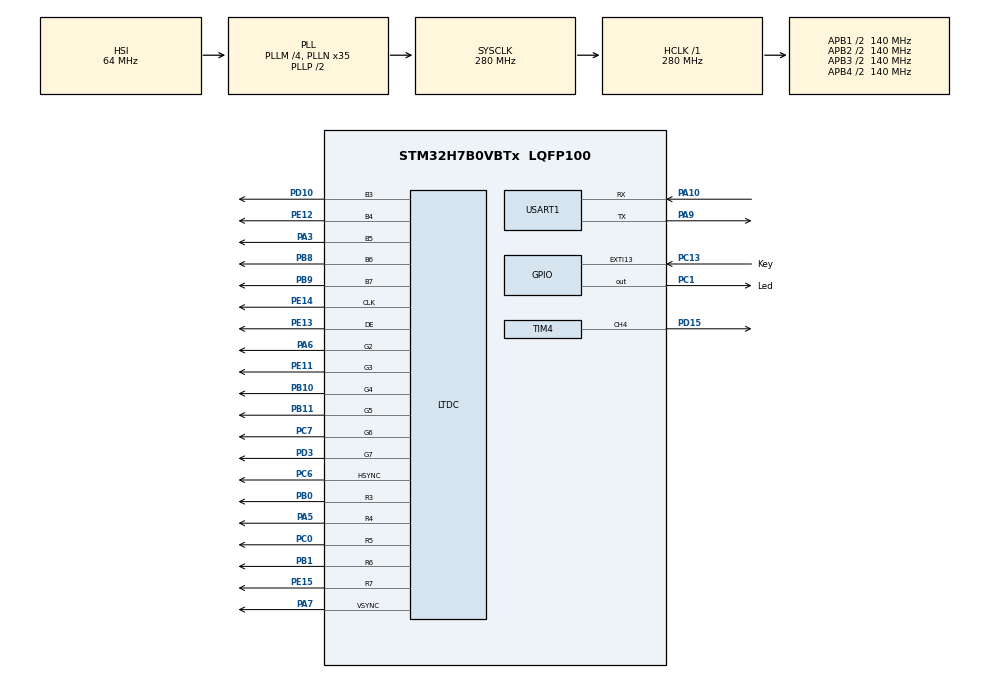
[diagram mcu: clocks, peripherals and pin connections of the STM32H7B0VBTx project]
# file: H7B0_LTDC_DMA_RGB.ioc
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CORTEX_M7.AccessPermission-Cortex_Memory_Protection_Unit_Region0_Settings=MPU_REGION_FULL_ACCESS
CORTEX_M7.BaseAddress-Cortex_Memory_Protection_Unit_Region0_Settings=0x24000000
CORTEX_M7.CPU_DCache=Enabled
CORTEX_M7.CPU_ICache=Enabled
CORTEX_M7.Enable-Cortex_Memory_Protection_Unit_Region0_Settings=MPU_REGION_ENABLE
CORTEX_M7.IsBufferable-Cortex_Memory_Protection_Unit_Region0_Settings=MPU_ACCESS_NOT_BUFFERABLE
CORTEX_M7.IsCacheable-Cortex_Memory_Protection_Unit_Region0_Settings=MPU_ACCESS_CACHEABLE
CORTEX_M7.MPU_Control=MPU_PRIVILEGED_DEFAULT
CORTEX_M7.Size-Cortex_Memory_Protection_Unit_Region0_Settings=MPU_REGION_SIZE_1MB
CORTEX_M7.TypeExtField-Cortex_Memory_Protection_Unit_Region0_Settings=MPU_TEX_LEVEL0
DMA2D.ColorMode=DMA2D_OUTPUT_RGB565
DMA2D.Mode=DMA2D_R2M
LTDC.ActiveW=800
LTDC.Alpha0_L0=0
LTDC.Alpha_L0=255
LTDC.Blue=0
LTDC.Blue_L0=255
LTDC.FBStartAdress_L0=\ 0x24000000
LTDC.Green=0
LTDC.Green_L0=255
LTDC.HBP=80
LTDC.HFP=200
LTDC.HSync=1
LTDC.ImageHeight_L0=480
LTDC.ImageWidth_L0=800
LTDC.Layers=0
LTDC.PixelFormat_L0=LTDC_PIXEL_FORMAT_RGB565
LTDC.Red=0
LTDC.Red_L0=255
LTDC.VBP=40
LTDC.VFP=22
LTDC.VSync=1
LTDC.WindowX1_L0=800
LTDC.WindowY1_L0=480
Mcu.Family=STM32H7
Mcu.Name=STM32H7B0VBTx
Mcu.Package=LQFP100
NVIC.DMA2D_IRQn=true\:0\:0\:false\:false\:true\:true\:true
NVIC.EXTI15_10_IRQn=true\:0\:3\:false\:false\:true\:true\:true
NVIC.PriorityGroup=NVIC_PRIORITYGROUP_2
NVIC.USART1_IRQn=true\:0\:2\:false\:false\:true\:true\:true
PA10.Mode=Asynchronous
PA10.Signal=USART1_RX
PA13.Mode=Serial_Wire
PA13.Signal=DEBUG_JTMS-SWDIO
PA14.Mode=Serial_Wire
PA14.Signal=DEBUG_JTCK-SWCLK
PA3.GPIO_Speed=GPIO_SPEED_FREQ_VERY_HIGH
PA3.Mode=RGB565
PA3.Signal=LTDC_B5
PA5.GPIO_Speed=GPIO_SPEED_FREQ_VERY_HIGH
PA5.Mode=RGB565
PA5.Signal=LTDC_R4
PA6.GPIO_Speed=GPIO_SPEED_FREQ_VERY_HIGH
PA6.Mode=RGB565
PA6.Signal=LTDC_G2
PA7.GPIO_Speed=GPIO_SPEED_FREQ_VERY_HIGH
PA7.Mode=RGB565
PA7.Signal=LTDC_VSYNC
PA9.Mode=Asynchronous
PA9.Signal=USART1_TX
PB0.GPIO_Speed=GPIO_SPEED_FREQ_VERY_HIGH
PB0.Mode=RGB565
PB0.Signal=LTDC_R3
PB1.GPIO_Speed=GPIO_SPEED_FREQ_VERY_HIGH
PB1.Mode=RGB565
PB1.Signal=LTDC_R6
PB10.GPIO_Speed=GPIO_SPEED_FREQ_VERY_HIGH
PB10.Mode=RGB565
PB10.Signal=LTDC_G4
PB11.GPIO_Speed=GPIO_SPEED_FREQ_VERY_HIGH
PB11.Mode=RGB565
PB11.Signal=LTDC_G5
PB8.GPIO_FM8=__NULL
PB8.GPIO_Speed=GPIO_SPEED_FREQ_VERY_HIGH
PB8.Mode=RGB565
PB8.Signal=LTDC_B6
PB9.GPIO_FM9=__NULL
PB9.GPIO_Speed=GPIO_SPEED_FREQ_VERY_HIGH
PB9.Mode=RGB565
PB9.Signal=LTDC_B7
PC0.GPIO_Speed=GPIO_SPEED_FREQ_VERY_HIGH
PC0.Mode=RGB565
PC0.Signal=LTDC_R5
PC1.GPIO_Label=Led
PC1.GPIO_Speed=GPIO_SPEED_FREQ_LOW
PC1.PinState=GPIO_PIN_RESET
PC1.Signal=GPIO_Output
PC13.GPIO_Label=Key
PC13.GPIO_ModeDefaultEXTI=GPIO_MODE_IT_FALLING
PC13.GPIO_PuPd=GPIO_PULLUP
PC13.Signal=GPXTI13
PC6.GPIO_Speed=GPIO_SPEED_FREQ_VERY_HIGH
PC6.Mode=RGB565
PC6.Signal=LTDC_HSYNC
PC7.GPIO_Speed=GPIO_SPEED_FREQ_VERY_HIGH
PC7.Mode=RGB565
PC7.Signal=LTDC_G6
PD10.GPIO_Speed=GPIO_SPEED_FREQ_VERY_HIGH
PD10.Mode=RGB565
PD10.Signal=LTDC_B3
PD15.Signal=S_TIM4_CH4
PD3.GPIO_Speed=GPIO_SPEED_FREQ_VERY_HIGH
PD3.Mode=RGB565
PD3.Signal=LTDC_G7
PE11.GPIO_Speed=GPIO_SPEED_FREQ_VERY_HIGH
PE11.Mode=RGB565
PE11.Signal=LTDC_G3
PE12.GPIO_Speed=GPIO_SPEED_FREQ_VERY_HIGH
PE12.Mode=RGB565
PE12.Signal=LTDC_B4
PE13.GPIO_Speed=GPIO_SPEED_FREQ_VERY_HIGH
PE13.Mode=RGB565
PE13.Signal=LTDC_DE
PE14.GPIO_Speed=GPIO_SPEED_FREQ_VERY_HIGH
PE14.Mode=RGB565
PE14.Signal=LTDC_CLK
PE15.GPIO_Speed=GPIO_SPEED_FREQ_VERY_HIGH
PE15.Mode=RGB565
PE15.Signal=LTDC_R7
PH0-OSC_IN.Mode=HSE-External-Oscillator
PH0-OSC_IN.Signal=RCC_OSC_IN
PH1-OSC_OUT.Mode=HSE-External-Oscillator
PH1-OSC_OUT.Signal=RCC_OSC_OUT
ProjectManager.HeapSize=0x200
ProjectManager.StackSize=0x400
ProjectManager.TargetToolchain=Makefile
RCC.ADCFreq_Value=129000000
RCC.APB1Freq_Value=140000000
RCC.APB2Freq_Value=140000000
RCC.APB3Freq_Value=140000000
RCC.APB4Freq_Value=140000000
RCC.CDPPRE=RCC_APB3_DIV2
RCC.CDPPRE1=RCC_APB1_DIV2
RCC.CDPPRE2=RCC_APB2_DIV2
RCC.CortexFreq_Value=280000000
RCC.DIVM1=4
RCC.DIVM3=4
RCC.DIVN1=35
RCC.DIVN3=8
RCC.DIVR3=4
RCC.HCLKFreq_Value=280000000
RCC.HSE_VALUE=25000000
RCC.PLL3FRACN=0
RCC.PLLFRACN=0
RCC.SRDPPRE=RCC_APB4_DIV2
RCC.SYSCLKFreq_VALUE=280000000
RCC.SYSCLKSource=RCC_SYSCLKSOURCE_PLLCLK
RCC.USBFreq_Value=280000000
SH.S_TIM4_CH4.0=TIM4_CH4,PWM Generation4 CH4
TIM4.Channel-PWM\ Generation4\ CH4=TIM_CHANNEL_4
TIM4.Period=99
TIM4.Prescaler=1399
TIM4.Pulse-PWM\ Generation4\ CH4=99
USART1.VirtualMode-Asynchronous=VM_ASYNC
VP_DMA2D_VS_DMA2D.Mode=DMA2D_Activate
board=custom

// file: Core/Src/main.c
/* USER CODE BEGIN Header */
/**
 ******************************************************************************
 * @file           : main.c
 * @brief          : Main program body
 ******************************************************************************
 * @attention
 *
 * <h2><center>&copy; Copyright (c) 2023 STMicroelectronics.
 * All rights reserved.</center></h2>
 *
 * This software component is licensed by ST under BSD 3-Clause license,
 * the "License"; You may not use this file except in compliance with the
 * License. You may obtain a copy of the License at:
 *                        opensource.org/licenses/BSD-3-Clause
 *
 ******************************************************************************
 */
/* USER CODE END Header */
#include "main.h"
#include "dma2d.h"
#include "ltdc.h"
#include "tim.h"
#include "usart.h"
#include "gpio.h"

void SystemClock_Config(void);
static void MPU_Config(void);

int main(void)
{

  /* MPU Configuration--------------------------------------------------------*/
  MPU_Config();

  /* Enable I-Cache---------------------------------------------------------*/
  SCB_EnableICache();

  /* Enable D-Cache---------------------------------------------------------*/
  SCB_EnableDCache();

  /* MCU Configuration--------------------------------------------------------*/

  /* Reset of all peripherals, Initializes the Flash interface and the Systick. */
  HAL_Init();

  /* Configure the system clock */
  SystemClock_Config();

  /* Initialize all configured peripherals */
  MX_GPIO_Init();
  MX_USART1_UART_Init();
  MX_LTDC_Init();
  MX_TIM4_Init();
  MX_DMA2D_Init();
  /* USER CODE BEGIN 2 */

    HAL_TIM_PWM_Start(&htim4, TIM_CHANNEL_4);
    TIM4->CCR4 = 99;
    Touch_Init(); // ��������ʼ��
    Usart_SendString((uint8_t *)"��ʼ��ok\n");
    printf("ok\n");
    int i;
    i=HAL_GetTick();
    lcd_fill0(0,0, 800,480, lightcoral);
    printf("%d\n",HAL_GetTick()-i);

    i=HAL_GetTick();
    color_fill(0,0, 800,480, 0X0EFB);
    printf("%d\n",HAL_GetTick()-i);

  /* USER CODE END 2 */

  /* Infinite loop */
  while (1)
  {

    /* USER CODE BEGIN 3 */
    Touch_Scan(); // ����ɨ��

    HAL_Delay(1000);
    GPIOC->ODR^=GPIO_PIN_1;
  }
  /* USER CODE END 3 */
}

void SystemClock_Config(void)
{
  RCC_OscInitTypeDef RCC_OscInitStruct = {0};
  RCC_ClkInitTypeDef RCC_ClkInitStruct = {0};
  RCC_PeriphCLKInitTypeDef PeriphClkInitStruct = {0};

  /** Supply configuration update enable
  */
  HAL_PWREx_ConfigSupply(PWR_LDO_SUPPLY);
  /** Configure the main internal regulator output voltage
  */
  __HAL_PWR_VOLTAGESCALING_CONFIG(PWR_REGULATOR_VOLTAGE_SCALE0);

  while(!__HAL_PWR_GET_FLAG(PWR_FLAG_VOSRDY)) {}
  /** Macro to configure the PLL clock source
  */
  __HAL_RCC_PLL_PLLSOURCE_CONFIG(RCC_PLLSOURCE_HSI);
  /** Initializes the RCC Oscillators according to the specified parameters
  * in the RCC_OscInitTypeDef structure.
  */
  RCC_OscInitStruct.OscillatorType = RCC_OSCILLATORTYPE_HSI;
  RCC_OscInitStruct.HSIState = RCC_HSI_DIV1;
  RCC_OscInitStruct.HSICalibrationValue = RCC_HSICALIBRATION_DEFAULT;
  RCC_OscInitStruct.PLL.PLLState = RCC_PLL_ON;
  RCC_OscInitStruct.PLL.PLLSource = RCC_PLLSOURCE_HSI;
  RCC_OscInitStruct.PLL.PLLM = 4;
  RCC_OscInitStruct.PLL.PLLN = 35;
  RCC_OscInitStruct.PLL.PLLP = 2;
  RCC_OscInitStruct.PLL.PLLQ = 2;
  RCC_OscInitStruct.PLL.PLLR = 2;
  RCC_OscInitStruct.PLL.PLLRGE = RCC_PLL1VCIRANGE_3;
  RCC_OscInitStruct.PLL.PLLVCOSEL = RCC_PLL1VCOWIDE;
  RCC_OscInitStruct.PLL.PLLFRACN = 0;
  if (HAL_RCC_OscConfig(&RCC_OscInitStruct) != HAL_OK)
  {
    Error_Handler();
  }
  /** Initializes the CPU, AHB and APB buses clocks
  */
  RCC_ClkInitStruct.ClockType = RCC_CLOCKTYPE_HCLK|RCC_CLOCKTYPE_SYSCLK
                              |RCC_CLOCKTYPE_PCLK1|RCC_CLOCKTYPE_PCLK2
                              |RCC_CLOCKTYPE_D3PCLK1|RCC_CLOCKTYPE_D1PCLK1;
  RCC_ClkInitStruct.SYSCLKSource = RCC_SYSCLKSOURCE_PLLCLK;
  RCC_ClkInitStruct.SYSCLKDivider = RCC_SYSCLK_DIV1;
  RCC_ClkInitStruct.AHBCLKDivider = RCC_HCLK_DIV1;
  RCC_ClkInitStruct.APB3CLKDivider = RCC_APB3_DIV2;
  RCC_ClkInitStruct.APB1CLKDivider = RCC_APB1_DIV2;
  RCC_ClkInitStruct.APB2CLKDivider = RCC_APB2_DIV2;
  RCC_ClkInitStruct.APB4CLKDivider = RCC_APB4_DIV2;

  if (HAL_RCC_ClockConfig(&RCC_ClkInitStruct, FLASH_LATENCY_7) != HAL_OK)
  {
    Error_Handler();
  }
  PeriphClkInitStruct.PeriphClockSelection = RCC_PERIPHCLK_LTDC|RCC_PERIPHCLK_USART16;
  PeriphClkInitStruct.PLL3.PLL3M = 4;
  PeriphClkInitStruct.PLL3.PLL3N = 8;
  PeriphClkInitStruct.PLL3.PLL3P = 2;
  PeriphClkInitStruct.PLL3.PLL3Q = 2;
  PeriphClkInitStruct.PLL3.PLL3R = 4;
  PeriphClkInitStruct.PLL3.PLL3RGE = RCC_PLL3VCIRANGE_3;
  PeriphClkInitStruct.PLL3.PLL3VCOSEL = RCC_PLL3VCOWIDE;
  PeriphClkInitStruct.PLL3.PLL3FRACN = 0;
  PeriphClkInitStruct.Usart16ClockSelection = RCC_USART16910CLKSOURCE_D2PCLK2;
  if (HAL_RCCEx_PeriphCLKConfig(&PeriphClkInitStruct) != HAL_OK)
  {
    Error_Handler();
  }
}

/* MPU Configuration */

void MPU_Config(void)
{
  MPU_Region_InitTypeDef MPU_InitStruct = {0};

  /* Disables the MPU */
  HAL_MPU_Disable();
  /** Initializes and configures the Region and the memory to be protected
  */
  MPU_InitStruct.Enable = MPU_REGION_ENABLE;
  MPU_InitStruct.Number = MPU_REGION_NUMBER0;
  MPU_InitStruct.BaseAddress = 0x24000000;
  MPU_InitStruct.Size = MPU_REGION_SIZE_1MB;
  MPU_InitStruct.SubRegionDisable = 0x0;
  MPU_InitStruct.TypeExtField = MPU_TEX_LEVEL0;
  MPU_InitStruct.AccessPermission = MPU_REGION_FULL_ACCESS;
  MPU_InitStruct.DisableExec = MPU_INSTRUCTION_ACCESS_ENABLE;
  MPU_InitStruct.IsShareable = MPU_ACCESS_NOT_SHAREABLE;
  MPU_InitStruct.IsCacheable = MPU_ACCESS_NOT_CACHEABLE;
  MPU_InitStruct.IsBufferable = MPU_ACCESS_NOT_BUFFERABLE;

  HAL_MPU_ConfigRegion(&MPU_InitStruct);
  /* Enables the MPU */
  HAL_MPU_Enable(MPU_PRIVILEGED_DEFAULT);

}

void Error_Handler(void)
{
  /* USER CODE BEGIN Error_Handler_Debug */
  /* User can add his own implementation to report the HAL error return state */
  __disable_irq();
  while (1)
  {
      printf("error");
  }
  /* USER CODE END Error_Handler_Debug */
}

/************************ (C) COPYRIGHT STMicroelectronics *****END OF FILE****/
